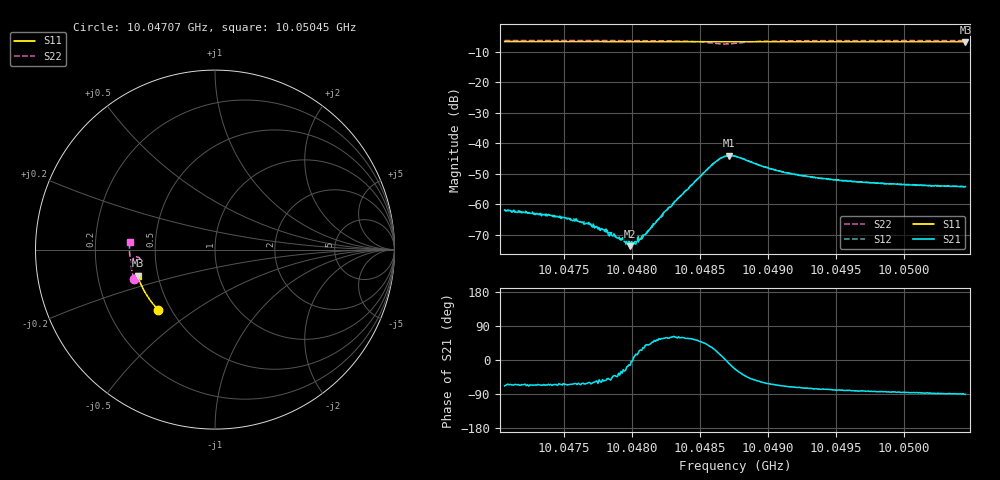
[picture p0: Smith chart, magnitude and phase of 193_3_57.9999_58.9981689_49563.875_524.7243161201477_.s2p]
#  HZ  S  RI  R  50.00
! Rohde & Schwarz Vector Network Analyzer
! Rohde-Schwarz,ZNB20-2Port,1311601062101988,3.16
! Created: UTC 3/21/2024, 12:58:56 AM
! freq[Hz]  re:S11  im:S11  re:S21  im:S21  re:S12  im:S12  re:S22  im:S22
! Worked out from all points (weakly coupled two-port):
!   401 points, 10.04707 GHz to 10.05045 GHz, reference 50 ohm
!   highest |S21| = -44.04 dB at 10.04872 GHz (marker M1); lowest = -73.7 dB at 10.04799 GHz (marker M2)
!   lowest |S11| = -6.8 dB at 10.05045 GHz (marker M3), VSWR 2.67, Z = 19.2 - j7.05 ohm
!   |S11| at or under -10 dB: nowhere
!   |S22| runs from -7.6 to -6.4 dB; largest |S21 - S12| = 0.00044
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1.0047067e10  -0.3161 -0.335  0.000302 -0.000749  0.000392 -0.000717  -0.4506 -0.1634
1.0047405e10  -0.3315 -0.3186  0.000286 -0.000598  0.000329 -0.00056  -0.4571 -0.1409
1.0047634e10  -0.3415 -0.3071  0.000238 -0.000448  0.000279 -0.000422  -0.4613 -0.125
1.0047701e10  -0.3443 -0.3038  0.000214 -0.000419  0.000232 -0.000385  -0.4622 -0.1202
1.0047803e10  -0.3485 -0.2987  0.000224 -0.000309  0.000237 -0.000272  -0.4636 -0.1126
1.0047845e10  -0.3503 -0.2963  0.000209 -0.000276  0.000234 -0.000241  -0.4641 -0.1094
1.0047938e10  -0.3541 -0.2914  0.000256 -0.000122  0.000231 -0.000118  -0.4652 -0.1022
1.0047972e10  -0.3554 -0.2897  0.000213 -6.32e-05  0.000248 -7.04e-05  -0.4654 -0.0995
1.0047989e10  -0.3561 -0.2888  0.000201 -5.09e-05  0.000234 -1.43e-05  -0.4656 -0.0983
1.0048015e10  -0.3572 -0.2874  0.000236 2.71e-05  0.000225 -9.49e-06  -0.4658 -0.0961
1.0048065e10  -0.3593 -0.2847  0.000246 0.000121  0.000251 9.15e-05  -0.4659 -0.0919
1.0048108e10  -0.3609 -0.2825  0.000258 0.00022  0.000248 0.000222  -0.4663 -0.0883
1.0048201e10  -0.3645 -0.2777  0.000322 0.000487  0.000334 0.00047  -0.4662 -0.0796
1.0048252e10  -0.3664 -0.2747  0.000409 0.000676  0.000399 0.000681  -0.4657 -0.0747
1.004859e10  -0.3785 -0.256  0.00371 0.0024  0.00362 0.00259  -0.4339 -0.0411
1.0048658e10  -0.3808 -0.2523  0.00562 0.00118  0.00557 0.00152  -0.4177 -0.0512
1.0048717e10  -0.3828 -0.2492  0.00619 -0.00108  0.00627 -0.000647  -0.4158 -0.0695
1.0048759e10  -0.3841 -0.247  0.00561 -0.00248  0.00582 -0.00213  -0.4237 -0.0797
1.004903e10  -0.3936 -0.2317  0.00163 -0.00338  0.00185 -0.00332  -0.4651 -0.0654
1.0049326e10  -0.4028 -0.2143  0.000705 -0.00268  0.000866 -0.00268  -0.4738 -0.0378
1.0049894e10  -0.4181 -0.1803  0.000196 -0.00215  0.000332 -0.00216  -0.4766 0.00511
1.0050452e10  -0.4305 -0.1457  -2.49e-05 -0.00196  0.000118 -0.00196  -0.4745 0.0437
